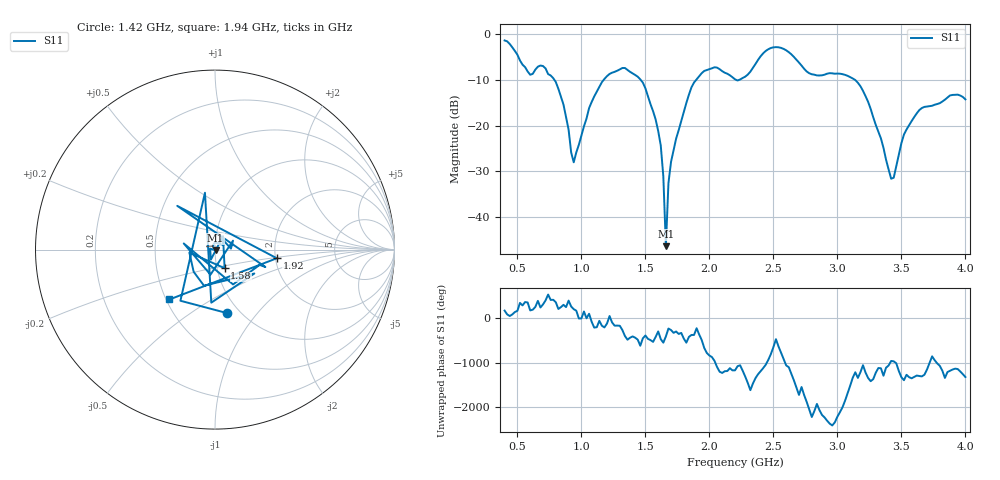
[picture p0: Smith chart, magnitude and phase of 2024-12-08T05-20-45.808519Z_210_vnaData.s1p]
!Created with skrf (http://scikit-rf.org).
# Hz S RI R 50.0
!freq ReS11 ImS11
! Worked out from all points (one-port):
!   181 points, 400 MHz to 4 GHz, reference 50 ohm
!   lowest |S11| = -46.5 dB at 1.66 GHz (marker M1), VSWR 1.01, Z = 50.3 - j0.377 ohm
!   |S11| at or under -10 dB: 789.6 MHz to 1.173 GHz (383.5 MHz wide, 39.1 % of centre); 1.464 GHz to 1.896 GHz (431.3 MHz wide, 25.7 % of centre); 3.14 GHz to end of sweep (the widest 3 of 4)
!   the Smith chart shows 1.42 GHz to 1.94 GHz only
!   S11 on the Smith chart (normalised r, x): 1.42 GHz: 0.87, -0.71; 1.58 GHz: 1.09, -0.23; 1.92 GHz: 2.03, -0.22; 1.94 GHz: 0.52, -0.34
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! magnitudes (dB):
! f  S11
! 400 MHz  -1.3
! 600 MHz  -8.8
! 720 MHz  -7.5
! 860 MHz  -15.4
! 940 MHz  -28.1
! 1.1 GHz  -13.6
! 1.3 GHz  -7.7
! 1.42 GHz  -8.9
! 1.48 GHz  -10.6
! 1.58 GHz  -18.7
! 1.62 GHz  -24.4
! 1.64 GHz  -31.1
! 1.66 GHz  -46.5
! 1.68 GHz  -32.6
! 1.76 GHz  -21.0
! 1.86 GHz  -11.6
! 1.92 GHz  -9.2
! 1.94 GHz  -8.5
! 2.2 GHz  -9.8
! 2.48 GHz  -3.0
! 2.66 GHz  -4.9
! 2.8 GHz  -8.7
! 3.1 GHz  -9.4
! 3.24 GHz  -14.8
! 3.42 GHz  -31.7
! 3.56 GHz  -19.9
! 3.66 GHz  -16.1
! 4 GHz  -14.2
